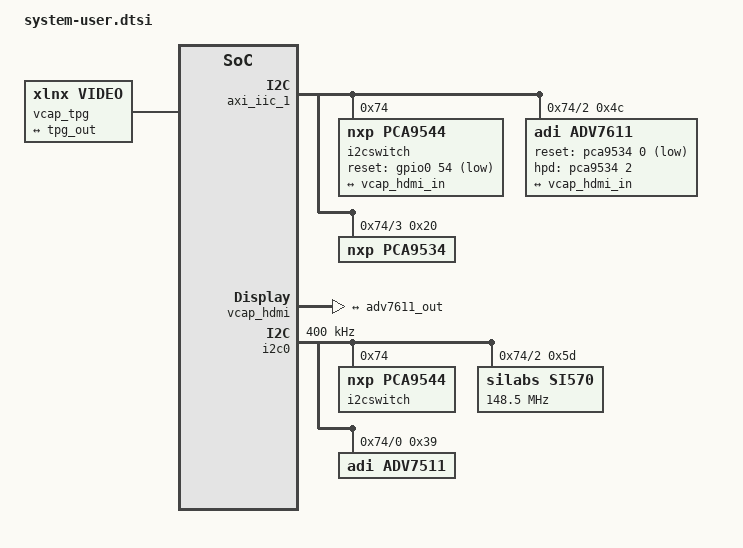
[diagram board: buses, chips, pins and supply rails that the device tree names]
/include/ "system-conf.dtsi"
/{
};
&i2c0 {
        status = "okay";
        clock-frequency = <400000>;
        i2cswitch@74 {
        compatible = "nxp,pca9544";
        #address-cells = <1>;
        #size-cells = <0>;
        reg = <0x74>;
        i2c@2{
            #address-cells = <1>;
            #size-cells = <0>;
            reg = <2>;
            si570: clock-generator@5d {
                #clock-cells = <0>;
                compatible = "silabs,si570";
                temperature-stability = <50>;
                reg = <0x5d>;
                factory-fout = <156250000>;
                clock-frequency = <148500000>;
            };
        };
        i2c@0 {
            #address-cells = <1>;
            #size-cells = <0>;
            reg = <0>;
            adv7511: hdmi-tx@39 {
                compatible = "adi,adv7511";
                reg = <0x39>;
                adi,input-depth = <8>;
                adi,input-colorspace = "yuv422";
                adi,input-clock = "1x";
                adi,input-style = <3>;
                adi,input-justification = "right";
                dma-request = <&logicvc_0>;
                edid-addr = <0x50>;
                video-input {
                    input-id = <1>;
                    input-style = <3>;
                    input-color-depth = <8>;
                    bit-justification = <1>;
                    hsync-polarity = <0>;
                    vsync-polarity = <0>;
                    clock-delay = <3>;
                };
                video-output {
                    hdmi-mode = <0>;
                    output-format = <0>;
                    output-color-space = <0>;
                    up-conversion = <0>;
                    csc-enable = <1>;
                    csc-scaling-factor = <2>;
                    csc-coefficients {
                        a1 = <0x0B37>;
                        a2 = <0x0800>;
                        a3 = <0x0000>;
                        a4 = <0x1A86>;
                        b1 = <0x1A49>;
                        b2 = <0x0800>;
                        b3 = <0x1D3F>;
                        b4 = <0x0422>;
                        c1 = <0x0000>;
                        c2 = <0x0800>;
                        c3 = <0x0E2D>;
                        c4 = <0x1914>;
                    };
                };
            };
        }; 
    };
};
/delete-node/ &tpg_input_v_tpg_1;
/delete-node/ &tpg_input_axi_vdma_3;
/delete-node/ &tpg_input_v_tc_1;
/delete-node/ &hdmi_output_logicvc_1;
/delete-node/ &fmc_hdmi_input_axi_vdma_1;
/include/ "/home/sundar/v2_success/components/plnx_workspace/device-tree/device-tree/pl.dtsi"
/ {
    amba_pl:amba_pl{
        axi_iic_1:i2c@40040000  {
                        #address-cells = <1>;
            #size-cells = <0>;
            clock-names = "s_axi_aclk";
            clocks = <&misc_clk_0>;
            compatible = "xlnx,axi-iic-2.0", "xlnx,xps-iic-2.00.a";
            interrupt-names = "iic2intc_irpt";
            interrupt-parent = <&intc>;
            interrupts = <0 30 4>;
            reg = <0x40040000 0x10000>;
                i2cswitch@74 {
                   compatible = "nxp,pca9544";
                   #address-cells = <1>;
                   #size-cells = <0>;
                   reg = <0x74>;
                           reset-gpios = <&gpio0 54 1>;
   
                            i2c@1 {
                #address-cells = <1>;
                #size-cells = <0>;
                reg = <2>;
                                adv7611:adv7611@4c {
                compatible = "adi,adv7611";
                reg = <0x4c>; 
                                reset-gpios = <&pca9534 0 1>;
                hpd-gpios = <&pca9534 2 0>;
                #address-cells = <0x1>;
                #size-cells = <0x0>;
                port@0 {
                    reg = <0x0>;
                };
                port@1 {
                    reg = <0x1>;
                    adv7611_out: endpoint {
                        remote-endpoint = <&vcap_hdmi_in>;
                    };
                 };
                 };
        
                           };
 
                    i2c@3 {
                #address-cells = <1>;
                #size-cells = <0>;
                reg = <3>;
    
                pca9534: gpio@20 {
                    compatible = "nxp,pca9534";
                    reg = <0x20>;
                    gpio-controller;
                    #gpio-cells = <2>;
                      };
                   };
                        };
                 };
    tpg_input_v_tc_1: v_tc@40070000 {
            compatible = "xlnx,v-tc-6.1", "xlnx,v-tc-6.1";
            reg = <0x40070000 0x10000>;
            clocks = <&misc_clk_2>, <&misc_clk_0>;
            clock-names = "clk", "s_axi_aclk";
            xlnx,generator ;
        };
    tpg_input_v_tpg_1: v_tpg@40080000 {
            compatible ="xlnx,v-tpg-7.0", "xlnx,v-tpg-5.0";
            reg = <0x40080000 0x10000>;
            clocks = <&misc_clk_1>;
            clock-names = "ap_clk";
            xlnx,vtc = <&tpg_input_v_tc_1>;
            reset-gpios = <&gpio0 56 1>;
            xlnx,s-axi-ctrl-addr-width = <8>;
            xlnx,s-axi-ctrl-data-width = <32>;
            tpg_ports: ports {
                #address-cells = <1>;
                #size-cells = <0>;
            port@0 {
                reg = <0>;
                xlnx,video-format = <0>;
                xlnx,video-width = <8>;
                tpg_out: endpoint {
                    remote-endpoint = <&vcap_tpg_in>;
                        };
                    };
                };
            };
    
        
    tpg_input_axi_vdma_3: dma@40020000 {
            compatible = "xlnx,axi-vdma-6.3", "xlnx,axi-vdma-1.00.a";
            #dma-cells = <1>;
            reg = <0x40020000 0x10000>;
            dma-ranges = <0x00000000 0x00000000 0x40000000>;
            xlnx,num-fstores = <0x1>;
            xlnx,flush-fsync = <0x1>;
            clocks = <&misc_clk_0>, <&misc_clk_1>, <&misc_clk_1>;
            clock-names = "s_axi_lite_aclk", "m_axi_s2mm_aclk", "s_axis_s2mm_aclk";
            interrupt-names = "s2mm_introut";
            interrupt-parent = <&intc>;
            interrupts = <0 33 4>;
            xlnx,addrwidth = <0x20>;
            dma-channel@40090000 {
                compatible = "xlnx,axi-vdma-s2mm-channel";
                interrupts = <0 33 4>;
                xlnx,datawidth = <0x10>;
                xlnx,device-id = <0x2>;
                xlnx,genlock-mode ;
            
                        };
                    };
    vcap_tpg {
        compatible = "xlnx,video";
        dmas = <&tpg_input_axi_vdma_3 1>;
        dma-names = "port0";
        ports {
            #address-cells = <1>;
            #size-cells = <0>;
            port@0 {
                reg = <0>;
                direction = "input";
                vcap_tpg_in: endpoint {
                    remote-endpoint = <&tpg_out>;
                                    };
                                };
                            };          
                        };  
fmc_hdmi_input_axi_vdma_1: dma@40090000 {
            #dma-cells = <1>;
            clock-names = "s_axi_lite_aclk", "m_axi_s2mm_aclk", "s_axis_s2mm_aclk";
            clocks = <&misc_clk_0>, <&misc_clk_1>, <&misc_clk_1>;
            compatible = "xlnx,axi-vdma-6.3", "xlnx,axi-vdma-1.00.a";
            interrupt-names = "s2mm_introut";
            interrupt-parent = <&intc>;
            interrupts = <0 32 4>;
            reg = <0x40090000 0x10000>;
            xlnx,addrwidth = <0x20>;
            xlnx,flush-fsync = <0x1>;
            xlnx,num-fstores = <0x1>;
            dma-channel@40090000 {
                compatible = "xlnx,axi-vdma-s2mm-channel";
                interrupts = <0 32 4>;
                xlnx,datawidth = <0x10>;
                xlnx,device-id = <0x0>;
                xlnx,genlock-mode ;
            };
        };
vcap_hdmi {
        compatible = "xlnx,video";
        dmas = <&fmc_hdmi_input_axi_vdma_1 1>;
        dma-names = "port0";
        ports {
            #address-cells = <1>;
            #size-cells = <0>;
            port@0 {
                reg = <0>;
                direction = "input";
                vcap_hdmi_in: endpoint {
                    remote-endpoint = <&adv7611_out>;
                };
            };
        };
    };
cvc_fixed_clk_150: cvc_fixed_clk {
    compatible = "fixed-clock";
    #clock-cells = <0>;
    clock-frequency = <148500000>;
   };  
logicvc_0: logicvc@40030000 {
    compatible = "xylon,logicvc-5.00.a";
    // kern 2016.2 reg = <0x0 0x80030000 0x10000>;
    reg = <0x40030000 0x10000>;
    interrupt-parent = <&intc>;
    interrupts = <0 31 4>;
    hsync-active-low;
    vsync-active-low;
        background-layer-bits-per-pixel = <32>;
    background-layer-type = "rgb";
    color-space = <1>;
        interface = <0>;
    readable-regs;
    //size-position;
    pixel-stride = <2048>;
    layer_0 {
        address = <0x30000000>;
        buffer-offset = <0>;
        bits-per-pixel = <8>;
        type = "rgb";
        transparency = "clut32";
    };
    layer_1 {
        address = <0x31950000>;
        buffer-offset = <0>;
        bits-per-pixel = <32>;
        type = "rgb";
        transparency = "pixel";
    };
/*  layer_2 {
        address = <0x00000000>;
        buffer-offset = <1080>;
        bits-per-pixel = <32>;
        type = "rgb";
        transparency = "pixel";
    };    */
        display-timings {
            //native-mode = <&SXGA>;
            //native-mode = <&hd720p>;
            native-mode = <&hd1080p>;
        SXGA: 1280x1024 {
            clock-frequency = <108000000>;
            hactive = <1280>;
            vactive = <1024>;
            hfront-porch = <48>;
            hback-porch = <248>;
            hsync-len = <112>;
            vfront-porch = <1>;
            vback-porch = <38>;
            vsync-len = <3>;
        };
        hd720p: 1280x720 {
            clock-frequency = <74250000>;
            hactive = <1280>;
            vactive = <720>;
            hfront-porch = <110>;
            hback-porch = <220>;
            hsync-len = <40>;
            vfront-porch = <5>;
            vback-porch = <20>;
            vsync-len = <5>;
        };
        hd1080p: 1920x1080 {
            clock-frequency = <148500000>;
            hactive = <1920>;
            vactive = <1080>;
            hfront-porch = <88>;
            hback-porch = <148>;
            hsync-len = <44>;
            vfront-porch = <4>;
            vback-porch = <36>;
            vsync-len = <5>;
        };
    };
} ; // logicvc_0
xylon_fb0 {
    compatible = "xylon,fb-4.00.a";
    clocks = <&si570>;
    device = <&logicvc_0>;
    video-mode = "1920x1080MR";
    //video-mode = "1280x1024";
    //video-mode = "800x600";
    console-layer = <1>;
    vsync-irq;
    //edid-video-mode;
        //edid-print;
    //put-vscreeninfo-exact;
   reserved-memory {
      #address-cells = <1>;
      #size-cells = <1>;
      ranges;
  
      reserved: buffer@0 {
         compatible = "shared-dma-pool";
         device_type = "memory";
         no-map;
         reg = <0x0 0x1FFFFFFF>;
      };
   };
  
   reserved-driver@0 {
      compatible = "xlnx,reserved-memory";
      memory-region = <&reserved>;
   };
  
} ;
    };
};

